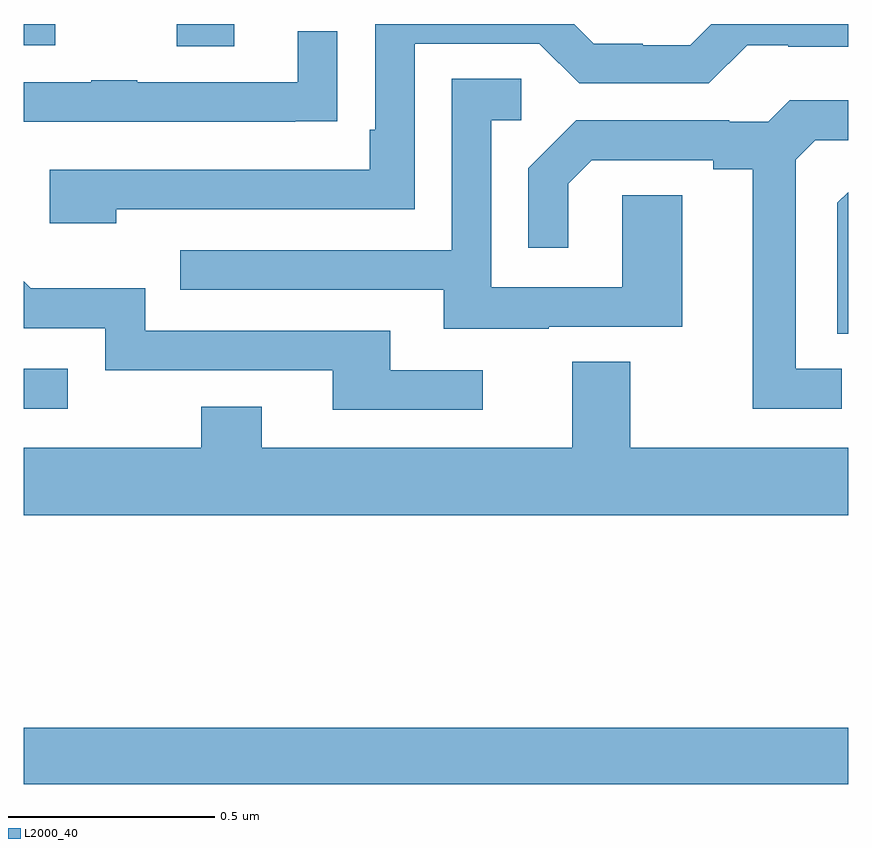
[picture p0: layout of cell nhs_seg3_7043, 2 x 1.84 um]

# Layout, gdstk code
import gdstk
lib = gdstk.Library(unit=1e-6, precision=1e-09)
def R(c, l, rs):  # rectangles x0, y0, x1, y1
    for r in rs: c.add(gdstk.rectangle(r[:2], r[2:], *l))
def P(c, l, *ps):  # polygons
    for p in ps: c.add(gdstk.Polygon(p, *l))
L2000_40 = (2000, 40)

nhs_seg3_7043 = lib.new_cell('nhs_seg3_7043')
R(nhs_seg3_7043, L2000_40, [(198,741.556,200,741.692), (198,742.467,198.106,742.563), (198.371,743.346,198.511,743.4), (198,743.349,198.076,743.4)])
P(nhs_seg3_7043, L2000_40, [(198.224,742.95),(198.948,742.95),(198.948,743.352),(199.251,743.352),(199.347,743.256),(199.662,743.256),(199.755,743.349),(199.855,743.349),(199.855,743.345),(200,743.345),(200,743.4),(199.668,743.4),(199.617,743.349),(199.502,743.349),(199.502,743.352),(199.383,743.352),(199.335,743.4),(198.852,743.4),(198.852,743.143),(198.839,743.143),(198.839,743.046),(198.063,743.046),(198.063,742.916),(198.224,742.916)],
  [(198.659,743.164),(198.761,743.164),(198.761,743.383),(198.665,743.383),(198.665,743.259),(198.275,743.259),(198.275,743.264),(198.163,743.264),(198.163,743.259),(198,743.259),(198,743.163),(198.659,743.163)],
  [(199.273,742.665),(199.597,742.665),(199.597,742.985),(199.452,742.985),(199.452,742.761),(199.134,742.761),(199.134,743.166),(199.207,743.166),(199.207,743.267),(199.038,743.267),(199.038,742.851),(198.379,742.851),(198.379,742.755),(199.019,742.755),(199.019,742.661),(199.273,742.661)],
  [(199.984,742.563),(199.873,742.563),(199.873,743.071),(199.92,743.118),(200,743.118),(200,743.215),(199.858,743.215),(199.806,743.163),(199.712,743.163),(199.712,743.166),(199.34,743.166),(199.224,743.05),(199.224,742.857),(199.321,742.857),(199.321,743.013),(199.378,743.07),(199.673,743.07),(199.673,743.048),(199.769,743.048),(199.769,742.467),(199.984,742.467)],
  [(200,742.992),(199.974,742.966),(199.974,742.648),(200,742.648)],
  [(199.114,742.56),(198.889,742.56),(198.889,742.656),(198.294,742.656),(198.294,742.759),(198.017,742.759),(198,742.776),(198,742.662),(198.198,742.662),(198.198,742.56),(198.749,742.56),(198.749,742.464),(199.114,742.464)],
  [(200,742.372),(199.471,742.372),(199.471,742.58),(199.331,742.58),(199.331,742.372),(198.577,742.372),(198.577,742.471),(198.43,742.471),(198.43,742.372),(198,742.372),(198,742.208),(200,742.208)])

lib.write_gds('nhs_seg3_7043.gds')
